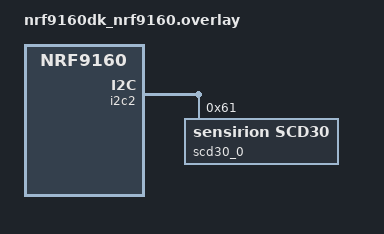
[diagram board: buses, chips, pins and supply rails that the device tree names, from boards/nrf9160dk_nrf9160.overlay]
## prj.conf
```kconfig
#
# Copyright (c) 2023 Jan Gnip
# Copyright (c) 2021 Advanced Climate Systems
#
# SPDX-License-Identifier: Apache-2.0
#

CONFIG_CBPRINTF_FP_SUPPORT=y
CONFIG_I2C=y
CONFIG_SENSOR=y
CONFIG_SCD30=y

CONFIG_LOG=y
CONFIG_SENSOR_LOG_LEVEL_DBG=y

CONFIG_UART_INTERRUPT_DRIVEN=y
CONFIG_SERIAL=y

CONFIG_UART_LINE_CTRL=y
```

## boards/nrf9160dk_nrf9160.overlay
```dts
/*
 * Copyright (c) 2023 Jan Gnip
 * Copyright (c) 2021 Advanced Climate Systems
 *
 * SPDX-License-Identifier: Apache-2.0
 */

&i2c2 {
    status = "okay";

    scd30_0@61 {
		compatible = "sensirion,scd30";
		reg = <0x61>;
		sample-period = <30>;
	};
};
```

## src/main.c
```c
/*
 * Copyright (c) 2023 Jan Gnip
 * Copyright (c) 2021 Advanced Climate Systems
 *
 * SPDX-License-Identifier: Apache-2.0
 */

#include <zephyr/zephyr.h>
#include <zephyr/logging/log.h>

#include <zephyr/device.h>
#include <zephyr/drivers/sensor.h>
#include <stdio.h>

#include <sensor/scd30/scd30.h>

#define SCD30_SAMPLE_TIME_SECONDS 5U

#if !DT_HAS_COMPAT_STATUS_OKAY(sensirion_scd30)
#error "No sensirion,scd30 compatible node found in the device tree"
#endif

void main(void)
{
	const struct device *dev = DEVICE_DT_GET_ANY(sensirion_scd30);
	struct sensor_value sample_period = {
		.val1 = SCD30_SAMPLE_TIME_SECONDS,
	};

	if (!device_is_ready(dev))
	{
		LOG_ERR("Could not get SCD30 device");
		return;
	}

	int rc = sensor_attr_set(dev, SENSOR_CHAN_ALL,
							 SCD30_SENSOR_ATTR_SAMPLING_PERIOD, &sample_period);
	if (rc != 0)
	{
		LOG_ERR("Failed to set sample period. (%d)", rc);
		return;
	}

	while (true)
	{
		struct sensor_value co2_concentration;

		rc = sensor_sample_fetch(dev);
		if (rc == 0)
		{
			rc = sensor_channel_get(dev, SENSOR_CHAN_CO2, &co2_concentration);
		}

		if (rc == -ENODATA)
		{
			LOG_INF("%s: no new measurment yet.", dev->name);
			LOG_INF("Waiting for 1 second and retrying...");
			k_sleep(K_SECONDS(1));
			continue;
		}
		else if (rc != 0)
		{
			LOG_INF("%s channel get: failed: %d", dev->name, rc);
			break;
		}

		LOG_INF("%s: %d ppm", dev->name, co2_concentration.val1);

		k_sleep(K_SECONDS(SCD30_SAMPLE_TIME_SECONDS));
	}
}
```
